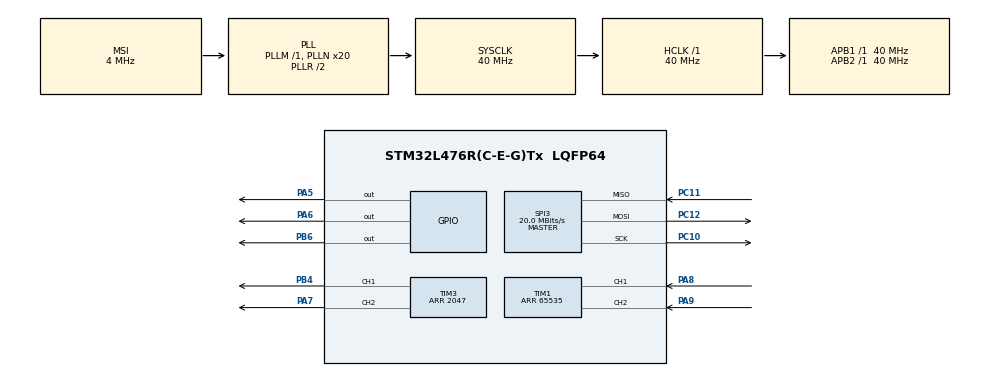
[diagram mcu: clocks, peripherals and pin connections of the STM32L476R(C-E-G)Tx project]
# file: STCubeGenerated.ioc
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Mcu.Family=STM32L4
Mcu.Name=STM32L476R(C-E-G)Tx
Mcu.Package=LQFP64
NVIC.PriorityGroup=NVIC_PRIORITYGROUP_4
PA13\ (JTMS-SWDIO).Mode=Trace_Asynchronous_SW
PA13\ (JTMS-SWDIO).Signal=SYS_JTMS-SWDIO
PA14\ (JTCK-SWCLK).Mode=Trace_Asynchronous_SW
PA14\ (JTCK-SWCLK).Signal=SYS_JTCK-SWCLK
PA5.Signal=GPIO_Output
PA6.GPIO_PuPd=GPIO_PULLUP
PA6.Signal=GPIO_Output
PA7.Signal=S_TIM3_CH2
PA8.Signal=S_TIM1_CH1
PA9.Signal=S_TIM1_CH2
PB3\ (JTDO-TRACESWO).Mode=Trace_Asynchronous_SW
PB3\ (JTDO-TRACESWO).Signal=SYS_JTDO-SWO
PB4\ (NJTRST).Signal=S_TIM3_CH1
PB6.Signal=GPIO_Output
PC10.Mode=Full_Duplex_Master
PC10.Signal=SPI3_SCK
PC11.Mode=Full_Duplex_Master
PC11.Signal=SPI3_MISO
PC12.Mode=Full_Duplex_Master
PC12.Signal=SPI3_MOSI
PH0-OSC_IN\ (PH0).Mode=HSE-External-Oscillator
PH0-OSC_IN\ (PH0).Signal=RCC_OSC_IN
PH1-OSC_OUT\ (PH1).Mode=HSE-External-Oscillator
PH1-OSC_OUT\ (PH1).Signal=RCC_OSC_OUT
ProjectManager.HeapSize=0x200
ProjectManager.StackSize=0x400
ProjectManager.TargetToolchain=MDK-ARM V5
RCC.AHBFreq_Value=40000000
RCC.APB1Freq_Value=40000000
RCC.APB1TimFreq_Value=40000000
RCC.APB2Freq_Value=40000000
RCC.APB2TimFreq_Value=40000000
RCC.CortexFreq_Value=40000000
RCC.HCLKFreq_Value=40000000
RCC.HSE_VALUE=8000000
RCC.HSI_VALUE=16000000
RCC.LSE_VALUE=32768
RCC.MSI_VALUE=4000000
RCC.PLLN=20
RCC.SYSCLKFreq_VALUE=40000000
RCC.SYSCLKSource=RCC_SYSCLKSOURCE_PLLCLK
RCC.VCOOutputFreq_Value=80000000
SH.S_TIM1_CH1.0=TIM1_CH1,Encoder_Interface
SH.S_TIM1_CH2.0=TIM1_CH2,Encoder_Interface
SH.S_TIM3_CH1.0=TIM3_CH1,PWM Generation1 CH1
SH.S_TIM3_CH2.0=TIM3_CH2,PWM Generation2 CH2
SPI3.CalculateBaudRate=20.0 MBits/s
SPI3.DataSize=SPI_DATASIZE_8BIT
SPI3.Direction=SPI_DIRECTION_2LINES
SPI3.Mode=SPI_MODE_MASTER
SPI3.VirtualType=VM_MASTER
TIM1.EncoderMode=TIM_ENCODERMODE_TI12
TIM1.Period=65535
TIM3.Channel-PWM\ Generation1\ CH1=TIM_CHANNEL_1
TIM3.Channel-PWM\ Generation2\ CH2=TIM_CHANNEL_2
TIM3.Period=2047
board=custom

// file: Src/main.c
/* USER CODE BEGIN Header */
/**
  ******************************************************************************
  * @file           : main.c
  * @brief          : Main program body
  ******************************************************************************
  * @attention
  *
  * <h2><center>&copy; Copyright (c) 2026 STMicroelectronics.
  * All rights reserved.</center></h2>
  *
  * This software component is licensed by ST under BSD 3-Clause license,
  * the "License"; You may not use this file except in compliance with the
  * License. You may obtain a copy of the License at:
  *                        opensource.org/licenses/BSD-3-Clause
  *
  ******************************************************************************
  */
/* USER CODE END Header */

#include "main.h"

/* USER CODE BEGIN Includes */
#include <stdio.h>
#include "application.h"
#ifdef _ETHERNET_ENABLED
#include "wizchip_conf.h"
#endif

/* USER CODE END Includes */

SPI_HandleTypeDef hspi3;

TIM_HandleTypeDef htim1;
TIM_HandleTypeDef htim3;

void SystemClock_Config(void);
static void MX_GPIO_Init(void);
static void MX_TIM1_Init(void);
static void MX_TIM3_Init(void);
static void MX_SPI3_Init(void);
/* USER CODE BEGIN PFP */
#ifdef _ETHERNET_ENABLED
static void Ethernet_CS_SEL(void);
static void Ethernet_CS_DESEL(void);
static uint8_t Ethernet_RB(void);
static void Ethernet_WB(uint8_t b);
static void Ethernet_Config(void);
#endif
/* USER CODE END PFP */

/* USER CODE BEGIN 0 */
uint32_t Main_GetTickMillisec(void) {
	#ifdef __RTX
  #if defined (osCMSIS) && (osCMSIS < 0x20000U)
    extern uint32_t os_time;
    return os_time;
  #else
    extern uint32_t osKernelGetTickCount();
    return osKernelGetTickCount();
  #endif
#else
  return HAL_GetTick();
#endif
}
/* USER CODE END 0 */

int main(void)
{

  /* MCU Configuration--------------------------------------------------------*/

  /* Reset of all peripherals, Initializes the Flash interface and the Systick. */
  HAL_Init();

  /* Configure the system clock */
  SystemClock_Config();

  /* Initialize all configured peripherals */
  MX_GPIO_Init();
  MX_TIM1_Init();
  MX_TIM3_Init();
  MX_SPI3_Init();
  /* USER CODE BEGIN 2 */
#ifdef _ETHERNET_ENABLED
Ethernet_Config();
#endif
Application_Setup();
  /* USER CODE END 2 */

  /* Infinite loop */
  /* USER CODE BEGIN WHILE */
  /* ---------- BARE-METAL MODE ---------- */
  while (1)
  {
		Application_Loop();

	}

    /* USER CODE END WHILE */

}

void SystemClock_Config(void)
{
  RCC_OscInitTypeDef RCC_OscInitStruct = {0};
  RCC_ClkInitTypeDef RCC_ClkInitStruct = {0};

  /** Initializes the CPU, AHB and APB busses clocks
  */
  RCC_OscInitStruct.OscillatorType = RCC_OSCILLATORTYPE_MSI;
  RCC_OscInitStruct.MSIState = RCC_MSI_ON;
  RCC_OscInitStruct.MSICalibrationValue = 0;
  RCC_OscInitStruct.MSIClockRange = RCC_MSIRANGE_6;
  RCC_OscInitStruct.PLL.PLLState = RCC_PLL_ON;
  RCC_OscInitStruct.PLL.PLLSource = RCC_PLLSOURCE_MSI;
  RCC_OscInitStruct.PLL.PLLM = 1;
  RCC_OscInitStruct.PLL.PLLN = 20;
  RCC_OscInitStruct.PLL.PLLP = RCC_PLLP_DIV7;
  RCC_OscInitStruct.PLL.PLLQ = RCC_PLLQ_DIV2;
  RCC_OscInitStruct.PLL.PLLR = RCC_PLLR_DIV2;
  if (HAL_RCC_OscConfig(&RCC_OscInitStruct) != HAL_OK)
  {
    Error_Handler();
  }
  /** Initializes the CPU, AHB and APB busses clocks
  */
  RCC_ClkInitStruct.ClockType = RCC_CLOCKTYPE_HCLK|RCC_CLOCKTYPE_SYSCLK
                              |RCC_CLOCKTYPE_PCLK1|RCC_CLOCKTYPE_PCLK2;
  RCC_ClkInitStruct.SYSCLKSource = RCC_SYSCLKSOURCE_PLLCLK;
  RCC_ClkInitStruct.AHBCLKDivider = RCC_SYSCLK_DIV1;
  RCC_ClkInitStruct.APB1CLKDivider = RCC_HCLK_DIV1;
  RCC_ClkInitStruct.APB2CLKDivider = RCC_HCLK_DIV1;

  if (HAL_RCC_ClockConfig(&RCC_ClkInitStruct, FLASH_LATENCY_2) != HAL_OK)
  {
    Error_Handler();
  }
  /** Configure the main internal regulator output voltage
  */
  if (HAL_PWREx_ControlVoltageScaling(PWR_REGULATOR_VOLTAGE_SCALE1) != HAL_OK)
  {
    Error_Handler();
  }
}

static void MX_SPI3_Init(void)
{

  /* SPI3 parameter configuration*/
  hspi3.Instance = SPI3;
  hspi3.Init.Mode = SPI_MODE_MASTER;
  hspi3.Init.Direction = SPI_DIRECTION_2LINES;
  hspi3.Init.DataSize = SPI_DATASIZE_8BIT;
  hspi3.Init.CLKPolarity = SPI_POLARITY_LOW;
  hspi3.Init.CLKPhase = SPI_PHASE_1EDGE;
  hspi3.Init.NSS = SPI_NSS_SOFT;
  hspi3.Init.BaudRatePrescaler = SPI_BAUDRATEPRESCALER_2;
  hspi3.Init.FirstBit = SPI_FIRSTBIT_MSB;
  hspi3.Init.TIMode = SPI_TIMODE_DISABLE;
  hspi3.Init.CRCCalculation = SPI_CRCCALCULATION_DISABLE;
  hspi3.Init.CRCPolynomial = 7;
  hspi3.Init.CRCLength = SPI_CRC_LENGTH_DATASIZE;
  hspi3.Init.NSSPMode = SPI_NSS_PULSE_ENABLE;
  if (HAL_SPI_Init(&hspi3) != HAL_OK)
  {
    Error_Handler();
  }

}

static void MX_TIM1_Init(void)
{

  TIM_Encoder_InitTypeDef sConfig = {0};
  TIM_MasterConfigTypeDef sMasterConfig = {0};

  htim1.Instance = TIM1;
  htim1.Init.Prescaler = 0;
  htim1.Init.CounterMode = TIM_COUNTERMODE_UP;
  htim1.Init.Period = 65535;
  htim1.Init.ClockDivision = TIM_CLOCKDIVISION_DIV1;
  htim1.Init.RepetitionCounter = 0;
  htim1.Init.AutoReloadPreload = TIM_AUTORELOAD_PRELOAD_DISABLE;
  sConfig.EncoderMode = TIM_ENCODERMODE_TI12;
  sConfig.IC1Polarity = TIM_ICPOLARITY_RISING;
  sConfig.IC1Selection = TIM_ICSELECTION_DIRECTTI;
  sConfig.IC1Prescaler = TIM_ICPSC_DIV1;
  sConfig.IC1Filter = 0;
  sConfig.IC2Polarity = TIM_ICPOLARITY_RISING;
  sConfig.IC2Selection = TIM_ICSELECTION_DIRECTTI;
  sConfig.IC2Prescaler = TIM_ICPSC_DIV1;
  sConfig.IC2Filter = 0;
  if (HAL_TIM_Encoder_Init(&htim1, &sConfig) != HAL_OK)
  {
    Error_Handler();
  }
  sMasterConfig.MasterOutputTrigger = TIM_TRGO_RESET;
  sMasterConfig.MasterOutputTrigger2 = TIM_TRGO2_RESET;
  sMasterConfig.MasterSlaveMode = TIM_MASTERSLAVEMODE_DISABLE;
  if (HAL_TIMEx_MasterConfigSynchronization(&htim1, &sMasterConfig) != HAL_OK)
  {
    Error_Handler();
  }
  /* USER CODE BEGIN TIM1_Init 2 */
HAL_TIM_Encoder_Start(&htim1,TIM_CHANNEL_1);
HAL_TIM_Encoder_Start(&htim1,TIM_CHANNEL_2);
  /* USER CODE END TIM1_Init 2 */

}

static void MX_TIM3_Init(void)
{

  TIM_MasterConfigTypeDef sMasterConfig = {0};
  TIM_OC_InitTypeDef sConfigOC = {0};

  htim3.Instance = TIM3;
  htim3.Init.Prescaler = 0;
  htim3.Init.CounterMode = TIM_COUNTERMODE_UP;
  htim3.Init.Period = 2047;
  htim3.Init.ClockDivision = TIM_CLOCKDIVISION_DIV1;
  htim3.Init.AutoReloadPreload = TIM_AUTORELOAD_PRELOAD_DISABLE;
  if (HAL_TIM_PWM_Init(&htim3) != HAL_OK)
  {
    Error_Handler();
  }
  sMasterConfig.MasterOutputTrigger = TIM_TRGO_RESET;
  sMasterConfig.MasterSlaveMode = TIM_MASTERSLAVEMODE_DISABLE;
  if (HAL_TIMEx_MasterConfigSynchronization(&htim3, &sMasterConfig) != HAL_OK)
  {
    Error_Handler();
  }
  sConfigOC.OCMode = TIM_OCMODE_PWM1;
  sConfigOC.Pulse = 0;
  sConfigOC.OCPolarity = TIM_OCPOLARITY_HIGH;
  sConfigOC.OCFastMode = TIM_OCFAST_DISABLE;
  if (HAL_TIM_PWM_ConfigChannel(&htim3, &sConfigOC, TIM_CHANNEL_1) != HAL_OK)
  {
    Error_Handler();
  }
  if (HAL_TIM_PWM_ConfigChannel(&htim3, &sConfigOC, TIM_CHANNEL_2) != HAL_OK)
  {
    Error_Handler();
  }
  /* USER CODE BEGIN TIM3_Init 2 */
HAL_TIM_PWM_Start(&htim3, TIM_CHANNEL_1);
HAL_TIM_PWM_Start(&htim3, TIM_CHANNEL_2);
  /* USER CODE END TIM3_Init 2 */
  HAL_TIM_MspPostInit(&htim3);

}

static void MX_GPIO_Init(void)
{
  GPIO_InitTypeDef GPIO_InitStruct = {0};

  /* GPIO Ports Clock Enable */
  __HAL_RCC_GPIOH_CLK_ENABLE();
  __HAL_RCC_GPIOA_CLK_ENABLE();
  __HAL_RCC_GPIOC_CLK_ENABLE();
  __HAL_RCC_GPIOB_CLK_ENABLE();

  /*Configure GPIO pin Output Level */
  HAL_GPIO_WritePin(GPIOA, GPIO_PIN_5|GPIO_PIN_6, GPIO_PIN_RESET);

  /*Configure GPIO pin Output Level */
  HAL_GPIO_WritePin(GPIOB, GPIO_PIN_6, GPIO_PIN_RESET);

  /*Configure GPIO pin : PA5 */
  GPIO_InitStruct.Pin = GPIO_PIN_5;
  GPIO_InitStruct.Mode = GPIO_MODE_OUTPUT_PP;
  GPIO_InitStruct.Pull = GPIO_NOPULL;
  GPIO_InitStruct.Speed = GPIO_SPEED_FREQ_LOW;
  HAL_GPIO_Init(GPIOA, &GPIO_InitStruct);

  /*Configure GPIO pin : PA6 */
  GPIO_InitStruct.Pin = GPIO_PIN_6;
  GPIO_InitStruct.Mode = GPIO_MODE_OUTPUT_PP;
  GPIO_InitStruct.Pull = GPIO_PULLUP;
  GPIO_InitStruct.Speed = GPIO_SPEED_FREQ_LOW;
  HAL_GPIO_Init(GPIOA, &GPIO_InitStruct);

  /*Configure GPIO pin : PB6 */
  GPIO_InitStruct.Pin = GPIO_PIN_6;
  GPIO_InitStruct.Mode = GPIO_MODE_OUTPUT_PP;
  GPIO_InitStruct.Pull = GPIO_NOPULL;
  GPIO_InitStruct.Speed = GPIO_SPEED_FREQ_LOW;
  HAL_GPIO_Init(GPIOB, &GPIO_InitStruct);

}

/* USER CODE BEGIN 4 */

#ifdef _ETHERNET_ENABLED
// Callback to select slave for SPI
static void Ethernet_CS_SEL(void)
{
  HAL_GPIO_WritePin(GPIOB, GPIO_PIN_6, GPIO_PIN_RESET);
}

// Callback to deselect slave for SPI
static void Ethernet_CS_DESEL(void)
{
  HAL_GPIO_WritePin(GPIOB, GPIO_PIN_6, GPIO_PIN_SET);
}

// Callback to receive over SPI
static uint8_t Ethernet_RB(void)
{
  uint8_t rbuf;
  HAL_SPI_Receive(&hspi3, &rbuf, 1, 0xFFFFFFFF);
  return rbuf;
}

// Callback to transmit over SPI
static void Ethernet_WB(uint8_t b)
{
  HAL_SPI_Transmit(&hspi3, &b, 1, 0xFFFFFFFF);
}

// Configure the ethernet shield over SPI
static void Ethernet_Config(void)
{
  reg_wizchip_cs_cbfunc(Ethernet_CS_SEL, Ethernet_CS_DESEL);
  reg_wizchip_spi_cbfunc(Ethernet_RB, Ethernet_WB);

  wizchip_init(NULL, NULL);

#ifdef _SERVER_CONFIG
  wiz_NetInfo netInfo = {
    .mac = {0x52,0x08,0xDC,0x12,0x34,0x57},   // Physical (MAC) address
    .ip  = {192, 168, 0, 10},                 // Logical (IP) address
    .sn  = {255, 255, 255, 0},                // Subnet mask
    .gw  = {192, 168, 0, 1}};                 // Gateway address
#else
  wiz_NetInfo netInfo = {
    .mac = {0x52,0x08,0xDC,0x12,0x34,0x58},   // Physical (MAC) address
    .ip  = {192, 168, 0, 11},                 // Logical (IP) address
    .sn  = {255, 255, 255, 0},                // Subnet mask
    .gw  = {192, 168, 0, 1}};                 // Gateway address
#endif
  wizchip_setnetinfo(&netInfo);

  wiz_NetTimeout timeout = {
    .retry_cnt = 2,                           // Retry count (RCR)
    .time_100us = 2000};                      // Retry time value (RTR)
  wizchip_settimeout(&timeout);
}
#endif //_ETHERNET_ENABLED

/* USER CODE END 4 */

void Error_Handler(void)
{
}

/************************ (C) COPYRIGHT STMicroelectronics *****END OF FILE****/
